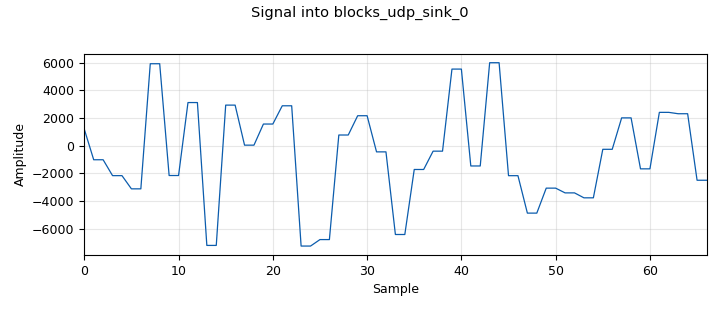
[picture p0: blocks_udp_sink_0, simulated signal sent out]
<?xml version='1.0' encoding='utf-8'?>
<flow_graph>
<block>
<key>options</key>
<param><key>id</key><value>tx_test</value></param>
<param><key>generate_options</key><value>qt_gui</value></param>
<param><key>category</key><value>Custom</value></param>
</block>
<block>
<key>variable</key>
<param><key>id</key><value>noise_power</value></param>
<param><key>value</key><value>-1</value></param>
</block>
<block>
<key>variable</key>
<param><key>id</key><value>samp_rate</value></param>
<param><key>value</key><value>16000</value></param>
</block>
<block>
<key>variable_qtgui_range</key>
<param><key>id</key><value>noise_level</value></param>
<param><key>_enabled</key><value>False</value></param>
<param><key>label</key><value>Noise Power</value></param>
<param><key>value</key><value>-100</value></param>
<param><key>start</key><value>-100</value></param>
<param><key>stop</key><value>10</value></param>
<param><key>step</key><value>1</value></param>
<param><key>orient</key><value>Qt.Horizontal</value></param>
</block>
<block>
<key>blocks_skiphead</key>
<param><key>id</key><value>blocks_skiphead_0</value></param>
<param><key>type</key><value>float</value></param>
<param><key>num_items</key><value>1</value></param>
</block>
<block>
<key>blocks_udp_source</key>
<param><key>id</key><value>blocks_udp_source_0</value></param>
<param><key>type</key><value>short</value></param>
<param><key>ipaddr</key><value>127.0.0.1</value></param>
<param><key>port</key><value>10000</value></param>
<param><key>psize</key><value>1472</value></param>
<param><key>eof</key><value>True</value></param>
<param><key>vlen</key><value>1</value></param>
</block>
<block>
<key>blocks_short_to_float</key>
<param><key>id</key><value>blocks_short_to_float_0</value></param>
<param><key>scale</key><value>32767</value></param>
</block>
<block>
<key>blocks_keep_one_in_n</key>
<param><key>id</key><value>blocks_keep_one_in_n_0</value></param>
<param><key>type</key><value>float</value></param>
<param><key>n</key><value>2</value></param>
</block>
<block>
<key>qtgui_sink_x</key>
<param><key>id</key><value>qtgui_sink_x_0</value></param>
<param><key>type</key><value>float</value></param>
<param><key>name</key><value>QT GUI Plot</value></param>
<param><key>fftsize</key><value>1024</value></param>
<param><key>wintype</key><value>firdes.WIN_BLACKMAN_hARRIS</value></param>
<param><key>fc</key><value>0</value></param>
<param><key>bw</key><value>samp_rate</value></param>
<param><key>plotconst</key><value>False</value></param>
<param><key>freqchangevar</key><value>None</value></param>
</block>
<block>
<key>rational_resampler_xxx</key>
<param><key>id</key><value>rational_resampler_xxx_0</value></param>
<param><key>_enabled</key><value>False</value></param>
<param><key>type</key><value>fff</value></param>
<param><key>interp</key><value>1</value></param>
<param><key>decim</key><value>3</value></param>
<param><key>taps</key><value></value></param>
</block>
<block>
<key>blocks_wavfile_source</key>
<param><key>id</key><value>blocks_wavfile_source_0</value></param>
<param><key>_enabled</key><value>False</value></param>
<param><key>file</key><value>/usr/share/sounds/alsa/Front_Center.wav</value></param>
<param><key>repeat</key><value>True</value></param>
</block>
<block>
<key>blocks_udp_sink</key>
<param><key>id</key><value>blocks_udp_sink_0</value></param>
<param><key>type</key><value>short</value></param>
<param><key>ipaddr</key><value>localhost</value></param>
<param><key>port</key><value>10001</value></param>
<param><key>psize</key><value>1024</value></param>
<param><key>eof</key><value>True</value></param>
<param><key>vlen</key><value>1</value></param>
</block>
<block>
<key>blocks_interleave</key>
<param><key>id</key><value>blocks_interleave_0</value></param>
<param><key>type</key><value>short</value></param>
</block>
<block>
<key>blocks_float_to_short</key>
<param><key>id</key><value>blocks_float_to_short_0</value></param>
<param><key>scale</key><value>32767</value></param>
</block>
<block>
<key>blocks_throttle</key>
<param><key>id</key><value>blocks_throttle_0</value></param>
<param><key>type</key><value>float</value></param>
<param><key>samples_per_second</key><value>samp_rate</value></param>
</block>
<block>
<key>blocks_multiply_const_vxx</key>
<param><key>id</key><value>blocks_multiply_const_vxx_0</value></param>
<param><key>type</key><value>float</value></param>
<param><key>const</key><value>pow(10, (noise_power/10))</value></param>
</block>
<block>
<key>analog_noise_source_x</key>
<param><key>id</key><value>analog_noise_source_x_0</value></param>
<param><key>type</key><value>float</value></param>
<param><key>noise_type</key><value>analog.GR_GAUSSIAN</value></param>
<param><key>amp</key><value>1</value></param>
<param><key>seed</key><value>0</value></param>
</block>
<connection><source_block_id>blocks_short_to_float_0</source_block_id><sink_block_id>blocks_skiphead_0</sink_block_id><source_key>0</source_key><sink_key>0</sink_key></connection>
<connection><source_block_id>blocks_skiphead_0</source_block_id><sink_block_id>blocks_keep_one_in_n_0</sink_block_id><source_key>0</source_key><sink_key>0</sink_key></connection>
<connection><source_block_id>blocks_udp_source_0</source_block_id><sink_block_id>blocks_short_to_float_0</sink_block_id><source_key>0</source_key><sink_key>0</sink_key></connection>
<connection><source_block_id>blocks_multiply_const_vxx_0</source_block_id><sink_block_id>blocks_throttle_0</sink_block_id><source_key>0</source_key><sink_key>0</sink_key></connection>
<connection><source_block_id>analog_noise_source_x_0</source_block_id><sink_block_id>blocks_multiply_const_vxx_0</sink_block_id><source_key>0</source_key><sink_key>0</sink_key></connection>
<connection><source_block_id>rational_resampler_xxx_0</source_block_id><sink_block_id>blocks_multiply_const_vxx_0</sink_block_id><source_key>0</source_key><sink_key>0</sink_key></connection>
<connection><source_block_id>blocks_keep_one_in_n_0</source_block_id><sink_block_id>qtgui_sink_x_0</sink_block_id><source_key>0</source_key><sink_key>0</sink_key></connection>
<connection><source_block_id>blocks_wavfile_source_0</source_block_id><sink_block_id>rational_resampler_xxx_0</sink_block_id><source_key>0</source_key><sink_key>0</sink_key></connection>
<connection><source_block_id>blocks_float_to_short_0</source_block_id><sink_block_id>blocks_interleave_0</sink_block_id><source_key>0</source_key><sink_key>0</sink_key></connection>
<connection><source_block_id>blocks_float_to_short_0</source_block_id><sink_block_id>blocks_interleave_0</sink_block_id><source_key>0</source_key><sink_key>1</sink_key></connection>
<connection><source_block_id>blocks_interleave_0</source_block_id><sink_block_id>blocks_udp_sink_0</sink_block_id><source_key>0</source_key><sink_key>0</sink_key></connection>
<connection><source_block_id>blocks_throttle_0</source_block_id><sink_block_id>blocks_float_to_short_0</sink_block_id><source_key>0</source_key><sink_key>0</sink_key></connection>
</flow_graph>
